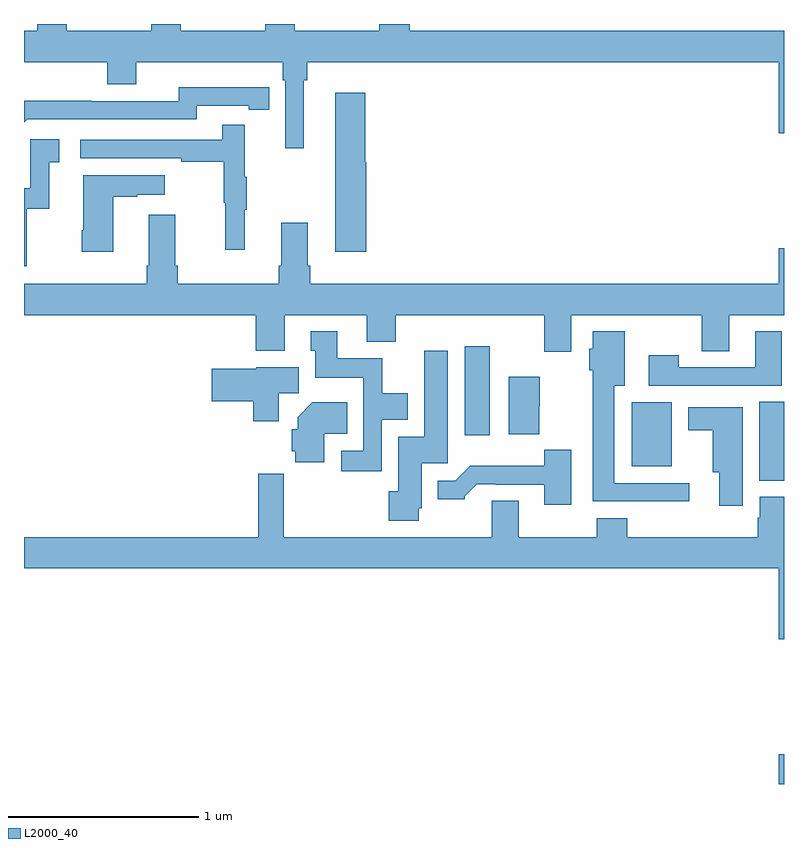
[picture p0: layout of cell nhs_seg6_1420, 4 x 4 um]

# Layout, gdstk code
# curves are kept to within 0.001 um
import gdstk
lib = gdstk.Library(unit=1e-6, precision=1e-09)
def R(c, l, rs):  # rectangles x0, y0, x1, y1
    for r in rs: c.add(gdstk.rectangle(r[:2], r[2:], *l))
def P(c, l, *ps):  # polygons
    for p in ps: c.add(gdstk.Polygon(p, *l))
L2000_40 = (2000, 40)

nhs_seg6_1420 = lib.new_cell('nhs_seg6_1420')
R(nhs_seg6_1420, L2000_40, [(200.972,979.5,201,979.657), (200.87,981.097,201,981.512), (200.198,981.173,200.41,981.508), (199.319,981.336,199.45,981.805)])
P(nhs_seg6_1420, L2000_40, [(198.472,983.204),(198.491,983.204),(198.491,983.3),(200.972,983.3),(200.972,982.926),(201,982.926),(201,983.464),(199.031,983.464),(199.031,983.5),(198.871,983.5),(198.871,983.464),(198.426,983.464),(198.426,983.5),(198.271,983.5),(198.271,983.464),(197.826,983.464),(197.826,983.5),(197.671,983.5),(197.671,983.464),(197.226,983.464),(197.226,983.5),(197.071,983.5),(197.071,983.464),(197,983.464),(197,983.3),(197.438,983.3),(197.438,983.183),(197.59,983.183),(197.59,983.3),(198.362,983.3),(198.362,983.204),(198.375,983.204),(198.375,982.845),(198.472,982.845)],
  [(197.016,982.998),(197.91,982.998),(197.91,983.07),(198.182,983.07),(198.182,983.05),(198.29,983.05),(198.29,983.166),(197.814,983.167),(197.814,983.094),(197.354,983.094),(197.354,983.096),(197,983.096),(197,982.982)],
  [(198.802,982.773),(198.797,982.773),(198.797,983.137),(198.638,983.137),(198.638,982.302),(198.802,982.302)],
  [(198.161,982.523),(198.172,982.523),(198.172,982.697),(198.161,982.697),(198.161,982.969),(198.043,982.969),(198.043,982.89),(197.295,982.89),(197.295,982.794),(197.827,982.794),(197.827,982.774),(198.051,982.774),(198.051,982.56),(198.058,982.56),(198.058,982.311),(198.161,982.311)],
  [(197.014,982.527),(197.132,982.527),(197.132,982.773),(197.185,982.773),(197.185,982.894),(197.034,982.894),(197.034,982.635),(197,982.635),(197,982.224),(197.014,982.224)],
  [(197.47,982.591),(197.597,982.591),(197.597,982.601),(197.74,982.601),(197.74,982.705),(197.312,982.705),(197.312,982.414),(197.305,982.414),(197.305,982.302),(197.47,982.302)],
  [(199.879,981.968),(200.566,981.968),(200.566,981.778),(200.713,981.778),(200.713,981.968),(201,981.968),(201,982.321),(200.972,982.321),(200.972,982.132),(198.506,982.132),(198.506,982.228),(198.493,982.228),(198.493,982.453),(198.353,982.453),(198.353,982.228),(198.341,982.228),(198.341,982.132),(197.81,982.132),(197.81,982.228),(197.797,982.228),(197.797,982.495),(197.657,982.495),(197.657,982.228),(197.645,982.228),(197.645,982.132),(197,982.132),(197,981.968),(198.221,981.968),(198.221,981.779),(198.373,981.779),(198.373,981.968),(198.803,981.968),(198.803,981.827),(198.956,981.827),(198.956,981.968),(199.739,981.968),(199.739,981.774),(199.879,981.774)],
  [(198.882,981.416),(199.021,981.416),(199.021,981.556),(198.885,981.556),(198.885,981.742),(198.649,981.742),(198.649,981.883),(198.509,981.883),(198.509,981.78),(198.533,981.78),(198.533,981.638),(198.786,981.638),(198.786,981.255),(198.669,981.255),(198.669,981.147),(198.882,981.147)],
  [(200.5,981.084),(200.107,981.084),(200.107,981.596),(200.161,981.596),(200.161,981.883),(199.994,981.883),(199.994,981.792),(199.976,981.792),(199.976,981.678),(199.994,981.678),(199.994,980.987),(200.5,980.987)],
  [(200.989,981.883),(200.849,981.883),(200.849,981.693),(200.445,981.693),(200.445,981.757),(200.289,981.757),(200.289,981.597),(200.989,981.597)],
  [(199.077,980.952),(199.093,980.952),(199.093,981.189),(199.231,981.189),(199.231,981.781),(199.106,981.781),(199.106,981.328),(198.971,981.328),(198.971,981.042),(198.92,981.042),(198.92,980.886),(199.077,980.886)],
  [(198.34,981.556),(198.445,981.556),(198.445,981.694),(198.222,981.694),(198.222,981.685),(197.988,981.685),(197.988,981.515),(198.206,981.515),(198.206,981.408),(198.34,981.408)],
  [(199.712,981.489),(199.714,981.489),(199.714,981.643),(199.55,981.643),(199.55,981.341),(199.712,981.341)],
  [(198.58,981.344),(198.701,981.344),(198.701,981.508),(198.518,981.508),(198.44,981.43),(198.44,981.366),(198.41,981.366),(198.41,981.252),(198.428,981.252),(198.428,981.194),(198.58,981.194)],
  [(200.782,981.484),(200.495,981.484),(200.495,981.362),(200.624,981.362),(200.624,981.14),(200.66,981.14),(200.66,980.964),(200.782,980.964)],
  [(199.879,981.259),(199.737,981.259),(199.737,981.175),(199.348,981.175),(199.269,981.096),(199.178,981.096),(199.178,980.999),(199.32,980.999),(199.32,981.014),(199.384,981.078),(199.483,981.078),(199.483,981.075),(199.739,981.075),(199.739,980.97),(199.879,980.97)],
  [(201,981.012),(200.873,981.012),(200.873,980.901),(200.861,980.901),(200.861,980.8),(200.174,980.8),(200.174,980.899),(200.014,980.899),(200.014,980.8),(199.603,980.8),(199.603,980.99),(199.463,980.99),(199.463,980.8),(198.368,980.8),(198.368,981.133),(198.232,981.133),(198.232,980.8),(197,980.8),(197,980.636),(200.972,980.636),(200.972,980.262),(201,980.262)])

lib.write_gds('nhs_seg6_1420.gds')
